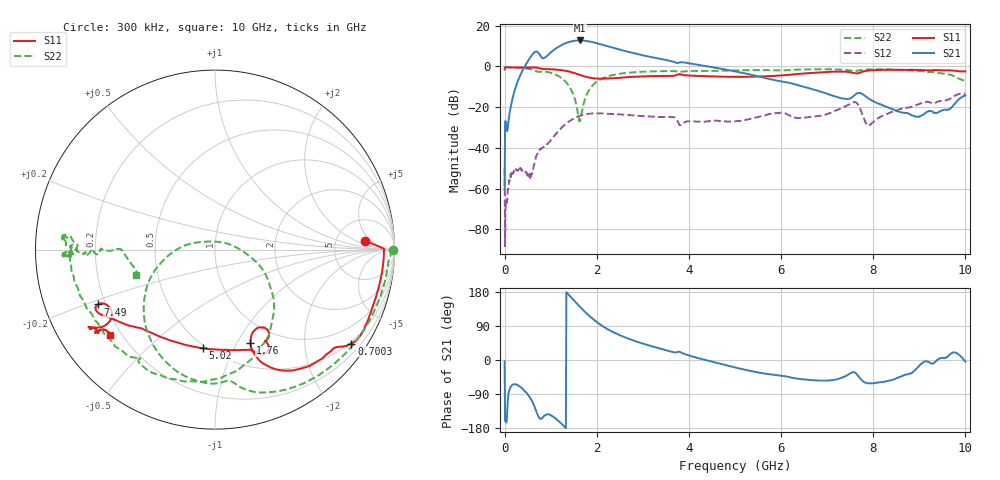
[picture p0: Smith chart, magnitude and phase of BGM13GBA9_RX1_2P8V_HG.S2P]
!Agilent Technologies,E5071C,MY46316587,B.13.01
!Date: Wed Dec 06 12:10:15 2017
!Data & Calibration Information:
!Freq	S11:SOLT2(ON)	S21:SOLT2(ON)	S12:SOLT2(ON)	S22:SOLT2(ON)
!PortZ  Port1:50+j0  Port2:50+j0
!Above PortZ is port z conversion or system Z0 setting when saving the data.
!When reading, reference impedance value at option line is always used.
# Hz S RI R 50
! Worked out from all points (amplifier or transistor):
!   1001 points, 300 kHz to 10 GHz, reference 50 ohm
!   highest |S21| = 12.7 dB at 1.63 GHz (marker M1)
!   |S21| within 3 dB of that: 1.176 GHz to 2.26 GHz (1.084 GHz wide, 63.1 % of centre)
!   unconditionally stable (mu >= 1): start of sweep to end of sweep
!   at 1.66 GHz: K = 1.31, MAG = 15.1 dB, |S12| = -24.1 dB
!   at 5 GHz: K = 3.64, MAG = 3.7 dB, |S12| = -26.9 dB
!   at 10 GHz: K = 3.96, MAG = -9.3 dB, |S12| = -13.5 dB
!   lowest NFmin = 0.68 dB at 1.65 GHz
!   S11 on the Smith chart (normalised r, x): 300 kHz: 10, +3; 700.3 MHz: 0.45, -3.16; 1.76 GHz: 0.75, -1.14; 5.02 GHz: 0.48, -0.76; 7.49 GHz: 0.17, -0.22; 10 GHz: 0.16, -0.35
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300000  0.8372 0.0497  0.000971 -5.89e-05  0.0027 0.00164  0.9926 -0.00349
1.602952e8  0.9311 -0.1208  0.0566 -0.1295  9.56e-05 0.00247  0.891 -0.3335
4.602862e8  0.8732 -0.3336  0.1013 -1.099  0.000831 0.00248  0.4924 -0.7456
6.102817e8  0.8286 -0.448  -0.7332 -1.853  -0.00222 0.00144  0.2213 -0.7932
7.00279e8  0.7598 -0.5236  -1.753 -1.482  -0.0062 0.00307  0.104 -0.7415
7.902763e8  0.686 -0.5424  -1.572 -0.7148  -0.00713 0.00662  0.0368 -0.7399
9.202724e8  0.6358 -0.5732  -1.444 -1.063  -0.00946 0.00789  -0.145 -0.7144
1.190264e9  0.4841 -0.6617  -2.989 -0.9158  -0.0204 0.0185  -0.392 -0.3994
1.420257e9  0.3205 -0.6608  -3.94 0.8031  -0.0234 0.0402  -0.2913 -0.0629
1.630251e9  0.2189 -0.5802  -3.356 2.717  -0.011 0.06  0.00727 0.0443
1.67025e9  0.2077 -0.5617  -3.094 2.996  -0.00722 0.0629  0.0621 0.0355
1.760247e9  0.1977 -0.521  -2.418 3.449  0.0019 0.0669  0.1747 -0.0235
1.970241e9  0.2153 -0.4551  -0.836 3.686  0.0214 0.0669  0.317 -0.237
2.33023e9  0.2684 -0.434  0.7378 2.804  0.0393 0.0556  0.251 -0.5487
3.3402e9  0.2877 -0.5041  1.331 0.808  0.0477 0.0323  -0.2456 -0.7203
5.00015e9  -0.0591 -0.5505  0.7133 -0.2542  0.0285 0.0348  -0.7591 -0.2309
5.020149e9  -0.0659 -0.5497  0.702 -0.2583  0.0281 0.0352  -0.7625 -0.221
6.6701e9  -0.5733 -0.3857  0.1659 -0.221  0.0329 0.0477  -0.8466 0.0649
7.490075e9  -0.6515 -0.3058  0.1308 -0.0948  0.0751 0.0919  -0.7975 0.0601
7.890063e9  -0.655 -0.4344  0.0783 -0.1444  0.0302 0.0183  -0.8406 -0.0252
8.34005e9  -0.7026 -0.4299  0.0563 -0.0788  0.0235 0.0675  -0.836 -0.0362
1e10  -0.5828 -0.4738  0.1921 -0.014  0.1984 0.0735  -0.4402 -0.1411
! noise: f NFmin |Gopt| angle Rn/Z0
1.1e+09  0.7687  0.5592  35.11  0.2637
1.15e+09  0.7827  0.549  36.52  0.2545
1.2e+09  0.7408  0.5416  37.72  0.2471
1.3e+09  0.736  0.5324  39.65  0.2372
1.35e+09  0.7178  0.5142  42.01  0.2282
1.4e+09  0.7188  0.5208  41.21  0.2298
1.5e+09  0.6817  0.5089  44.09  0.2225
1.55e+09  0.6777  0.5034  45.24  0.2229
1.6e+09  0.68  0.5015  47.06  0.2183
1.7e+09  0.6936  0.5087  49.67  0.2185
